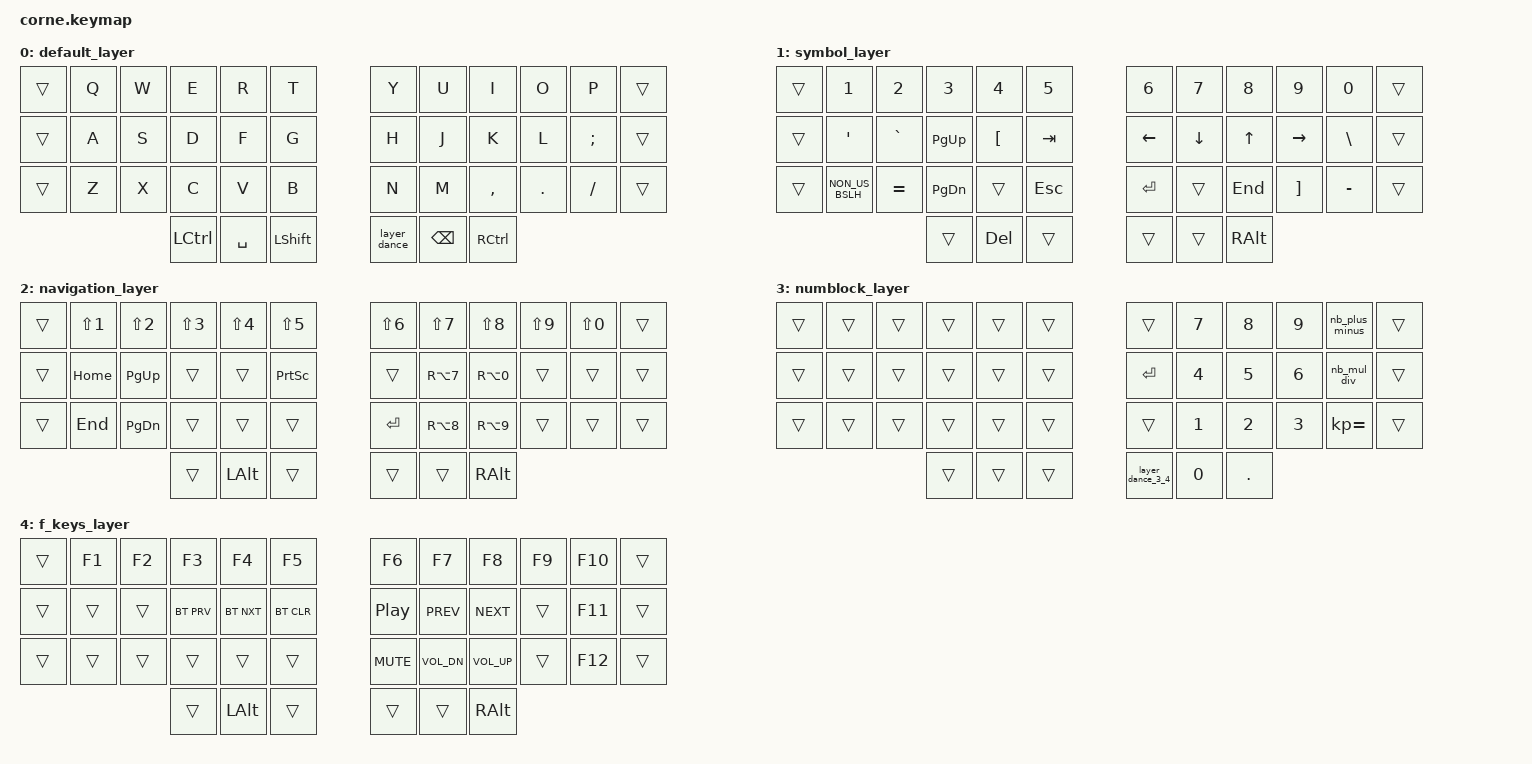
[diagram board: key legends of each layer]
#include <behaviors.dtsi>
#include <dt-bindings/zmk/bt.h>
#include <dt-bindings/zmk/keys.h>

/ {
    combos {
        compatible = "zmk,combos";

        umlaut_ae {
            bindings = <&kp APOS>;
            key-positions = <13 3>;
            timeout-ms = <100>;
            layers = <1>;
        };

        umlaut_oe {
            bindings = <&kp SEMI>;
            key-positions = <9 3>;
            timeout-ms = <100>;
            layers = <1>;
        };

        umlaut_ue {
            bindings = <&kp LEFT_BRACKET>;
            key-positions = <3 7>;
            timeout-ms = <100>;
            layers = <1>;
        };

        eszett {
            bindings = <&kp MINUS>;
            key-positions = <14 6>;
            timeout-ms = <100>;
            layers = <1>;
        };

        vb-esc {
            bindings = <&kp ESC>;
            key-positions = <28 29>;
            timeout-ms = <100>;
        };

        fg-tab {
            bindings = <&kp TAB>;
            key-positions = <4 5>;
            timeout-ms = <100>;
        };

        lgui {
            bindings = <&kp LGUI>;
            key-positions = <36 37>;
            timeout-ms = <100>;
        };

        Enter {
            bindings = <&kp ENTER>;
            key-positions = <16 17>;
        };
    };

    behaviors {
        layer_dance: layer_dance {
            compatible = "zmk,behavior-tap-dance";
            label = "LAYER_DANCE";
            #binding-cells = <0>;
            bindings = <&mo 1>, <&mo 2>, <&tog 3>, <&mo 4>;

            tapping-term-ms = <350>;
        };

        nb_plus_minus: nb_plus_minus {
            compatible = "zmk,behavior-tap-dance";
            label = "NB_PLUS_MINUS";
            #binding-cells = <0>;
            bindings = <&kp KP_PLUS>, <&kp KP_MINUS>;
        };

        nb_mul_div: nb_mul_div {
            compatible = "zmk,behavior-tap-dance";
            label = "NB_MUL_DIV";
            #binding-cells = <0>;
            bindings = <&kp KP_MULTIPLY>, <&kp KP_DIVIDE>;
        };

        layer_dance_3_4: layer_dance_3_4 {
            compatible = "zmk,behavior-tap-dance";
            label = "LAYER_DANCE_3_4";
            #binding-cells = <0>;
            bindings = <&mo 4>, <&to 0>;

            tapping-term-ms = <350>;
        };
    };

    keymap {
        compatible = "zmk,keymap";

        default_layer {
            bindings = <
&trans  &kp Q  &kp W  &kp E      &kp R      &kp T        &kp Y         &kp U          &kp I      &kp O    &kp P     &trans
&trans  &kp A  &kp S  &kp D      &kp F      &kp G        &kp H         &kp J          &kp K      &kp L    &kp SEMI  &trans
&trans  &kp Z  &kp X  &kp C      &kp V      &kp B        &kp N         &kp M          &kp COMMA  &kp DOT  &kp FSLH  &trans
                      &kp LCTRL  &kp SPACE  &kp LSHFT    &layer_dance  &kp BACKSPACE  &kp RCTRL
            >;
        };

        symbol_layer {
            bindings = <
&trans  &kp N1           &kp N2     &kp N3     &kp N4            &kp N5     &kp N6          &kp N7          &kp N8        &kp N9             &kp N0         &trans
&trans  &kp APOS         &kp GRAVE  &kp PG_UP  &kp LEFT_BRACKET  &kp TAB    &kp LEFT_ARROW  &kp DOWN_ARROW  &kp UP_ARROW  &kp RIGHT_ARROW    &kp BACKSLASH  &trans
&trans  &kp NON_US_BSLH  &kp EQUAL  &kp PG_DN  &trans            &kp ESC    &kp RET         &trans          &kp END       &kp RIGHT_BRACKET  &kp MINUS      &trans
                                    &trans     &kp DEL           &trans     &trans          &trans          &kp RALT
            >;
        };

        navigation_layer {
            bindings = <
&trans  &kp LS(N1)  &kp LS(N2)  &kp LS(N3)  &kp LS(N4)  &kp LS(N5)         &kp LS(N6)  &kp LS(N7)        &kp LS(N8)        &kp LS(N9)  &kp LS(N0)  &trans
&trans  &kp HOME    &kp PG_UP   &trans      &trans      &kp PRINTSCREEN    &trans      &kp RA(NUMBER_7)  &kp RA(NUMBER_0)  &trans      &trans      &trans
&trans  &kp END     &kp PG_DN   &trans      &trans      &trans             &kp RET     &kp RA(NUMBER_8)  &kp RA(NUMBER_9)  &trans      &trans      &trans
                                &trans      &kp LALT    &trans             &trans      &trans            &kp RALT
            >;
        };

        numblock_layer {
            bindings = <
&trans  &trans  &trans  &trans  &trans  &trans    &trans            &kp N7  &kp N8   &kp N9  &nb_plus_minus  &trans
&trans  &trans  &trans  &trans  &trans  &trans    &kp ENTER         &kp N4  &kp N5   &kp N6  &nb_mul_div     &trans
&trans  &trans  &trans  &trans  &trans  &trans    &trans            &kp N1  &kp N2   &kp N3  &kp KP_EQUAL    &trans
                        &trans  &trans  &trans    &layer_dance_3_4  &kp N0  &kp DOT
            >;
        };

        f_keys_layer {
            bindings = <
&trans  &kp F1  &kp F2  &kp F3      &kp F4      &kp F5        &kp F6            &kp F7        &kp F8           &kp F9  &kp F10  &trans
&trans  &trans  &trans  &bt BT_PRV  &bt BT_NXT  &bt BT_CLR    &kp C_PLAY_PAUSE  &kp C_PREV    &kp C_NEXT       &trans  &kp F11  &trans
&trans  &trans  &trans  &trans      &trans      &trans        &kp K_MUTE        &kp C_VOL_DN  &kp C_VOLUME_UP  &trans  &kp F12  &trans
                        &trans      &kp LALT    &trans        &trans            &trans        &kp RIGHT_ALT
            >;
        };
    };
};
